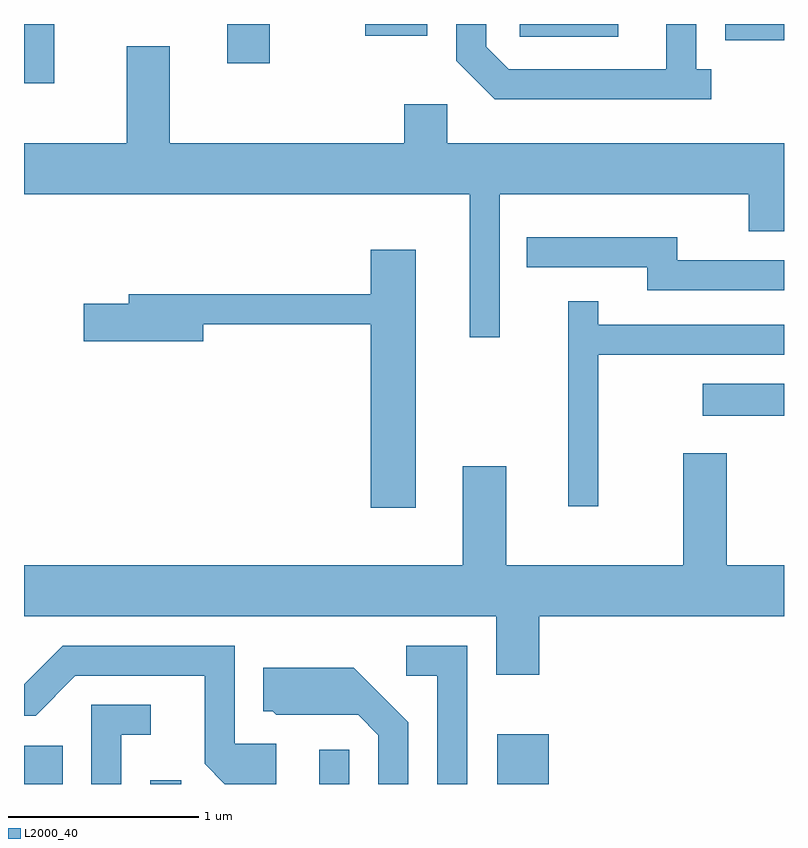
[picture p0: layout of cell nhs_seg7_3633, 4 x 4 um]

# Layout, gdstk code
import gdstk
lib = gdstk.Library(unit=1e-6, precision=1e-09)
def R(c, l, rs):  # rectangles x0, y0, x1, y1
    for r in rs: c.add(gdstk.rectangle(r[:2], r[2:], *l))
def P(c, l, *ps):  # polygons
    for p in ps: c.add(gdstk.Polygon(p, *l))
L2000_40 = (2000, 40)

nhs_seg7_3633 = lib.new_cell('nhs_seg7_3633')
R(nhs_seg7_3633, L2000_40, [(295.611,1782.252,295.814,1782.454), (296.276,1782.252,296.439,1782.273), (297.166,1782.252,297.324,1782.433), (298.101,1782.252,298.374,1782.514), (299.183,1784.191,299.611,1784.359), (295.611,1785.941,295.769,1786.252), (296.681,1786.046,296.904,1786.252), (299.301,1786.166,299.611,1786.252), (298.221,1786.186,298.738,1786.252), (297.406,1786.191,297.734,1786.252)])
P(nhs_seg7_3633, L2000_40, [(299.228,1786.014),(299.149,1786.014),(299.149,1786.252),(298.991,1786.252),(298.991,1786.014),(298.162,1786.014),(298.044,1786.132),(298.044,1786.252),(297.886,1786.252),(297.886,1786.059),(298.089,1785.856),(299.228,1785.856)],
  [(298.114,1785.356),(299.426,1785.356),(299.426,1785.161),(299.611,1785.161),(299.611,1785.624),(297.839,1785.624),(297.839,1785.829),(297.611,1785.829),(297.611,1785.624),(296.379,1785.624),(296.379,1786.134),(296.151,1786.134),(296.151,1785.624),(295.611,1785.624),(295.611,1785.356),(297.956,1785.356),(297.956,1784.603),(298.114,1784.603)],
  [(299.611,1785.009),(299.049,1785.009),(299.049,1785.129),(298.258,1785.129),(298.258,1784.971),(298.891,1784.971),(298.891,1784.851),(299.611,1784.851)],
  [(297.674,1785.064),(297.436,1785.064),(297.436,1784.829),(296.161,1784.829),(296.161,1784.779),(295.926,1784.779),(295.926,1784.581),(296.554,1784.581),(296.554,1784.671),(297.436,1784.671),(297.436,1783.706),(297.674,1783.706)],
  [(298.634,1784.511),(299.611,1784.511),(299.611,1784.669),(298.634,1784.669),(298.634,1784.793),(298.476,1784.793),(298.476,1783.713),(298.634,1783.713)],
  [(298.324,1783.136),(299.611,1783.136),(299.611,1783.404),(299.309,1783.404),(299.309,1783.994),(299.081,1783.994),(299.081,1783.404),(298.149,1783.404),(298.149,1783.924),(297.921,1783.924),(297.921,1783.404),(295.611,1783.404),(295.611,1783.136),(298.096,1783.136),(298.096,1782.826),(298.324,1782.826)],
  [(296.939,1782.464),(296.719,1782.464),(296.719,1782.979),(295.814,1782.979),(295.611,1782.776),(295.611,1782.611),(295.672,1782.611),(295.882,1782.821),(296.561,1782.821),(296.561,1782.359),(296.668,1782.252),(296.939,1782.252)],
  [(297.944,1782.979),(297.623,1782.979),(297.623,1782.821),(297.786,1782.821),(297.786,1782.252),(297.944,1782.252)],
  [(297.634,1782.577),(297.347,1782.864),(296.871,1782.864),(296.871,1782.636),(296.919,1782.636),(296.939,1782.616),(297.369,1782.616),(297.476,1782.509),(297.476,1782.252),(297.634,1782.252)],
  [(296.124,1782.511),(296.278,1782.511),(296.278,1782.669),(295.966,1782.669),(295.966,1782.252),(296.124,1782.252)])

lib.write_gds('nhs_seg7_3633.gds')
